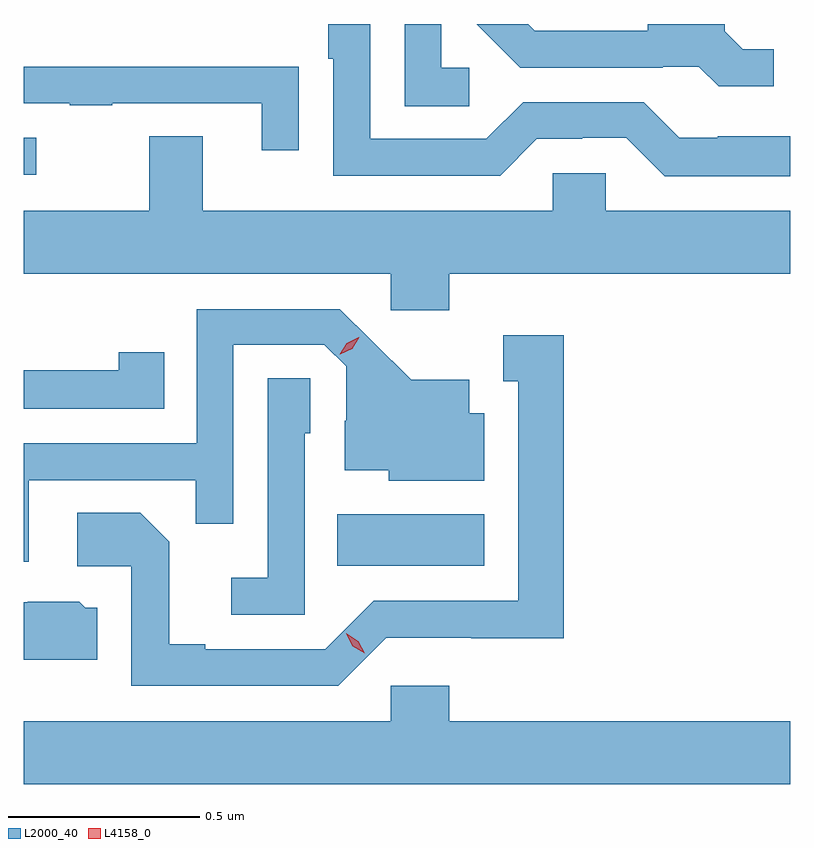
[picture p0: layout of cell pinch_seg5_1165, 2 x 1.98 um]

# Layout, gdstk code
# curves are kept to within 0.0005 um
import gdstk
lib = gdstk.Library(unit=1e-6, precision=1e-09)
def R(c, l, rs):  # rectangles x0, y0, x1, y1
    for r in rs: c.add(gdstk.rectangle(r[:2], r[2:], *l))
def P(c, l, *ps):  # polygons
    for p in ps: c.add(gdstk.Polygon(p, *l))
L2000_40 = (2000, 40)
L4158_0 = (4158, 0)

pinch_seg5_1165 = lib.new_cell('pinch_seg5_1165')
R(pinch_seg5_1165, L2000_40, [(783.388,836.018,783.772,836.152), (782.57,837.039,782.602,837.135)])
P(pinch_seg5_1165, L2000_40, [(784.528,837.366),(784.446,837.366),(784.399,837.413),(784.399,837.432),(784.199,837.432),(784.199,837.414),(783.904,837.414),(783.886,837.432),(783.752,837.432),(783.866,837.318),(784.238,837.318),(784.238,837.321),(784.332,837.321),(784.384,837.269),(784.528,837.269)],
  [(784.57,837.139),(784.381,837.139),(784.381,837.135),(784.281,837.135),(784.188,837.228),(783.873,837.228),(783.777,837.132),(783.474,837.132),(783.474,837.432),(783.365,837.432),(783.365,837.341),(783.378,837.341),(783.378,837.036),(783.813,837.036),(783.909,837.132),(784.028,837.132),(784.028,837.135),(784.143,837.135),(784.243,837.035),(784.57,837.035)],
  [(783.733,837.318),(783.66,837.318),(783.66,837.432),(783.564,837.432),(783.564,837.217),(783.733,837.217)],
  [(783.287,837.32),(783.185,837.32),(783.185,837.321),(782.57,837.321),(782.57,837.225),(782.689,837.225),(782.689,837.22),(782.801,837.22),(782.801,837.225),(783.191,837.225),(783.191,837.102),(783.287,837.102)],
  [(783.037,837.139),(782.897,837.139),(782.897,836.944),(782.57,836.944),(782.57,836.78),(783.528,836.78),(783.528,836.685),(783.68,836.685),(783.68,836.78),(784.57,836.78),(784.57,836.944),(784.089,836.944),(784.089,837.042),(783.951,837.042),(783.951,836.944),(783.037,836.944)],
  [(782.583,836.241),(783.019,836.241),(783.019,836.128),(783.117,836.128),(783.117,836.595),(783.354,836.595),(783.411,836.538),(783.411,836.396),(783.407,836.396),(783.407,836.267),(783.522,836.267),(783.522,836.24),(783.772,836.24),(783.772,836.416),(783.733,836.416),(783.733,836.503),(783.581,836.503),(783.394,836.688),(783.021,836.688),(783.021,836.337),(782.57,836.337),(782.57,836.028),(782.583,836.028)],
  [(783.516,835.83),(783.738,835.83),(783.738,835.829),(783.979,835.829),(783.979,836.62),(783.821,836.62),(783.821,836.499),(783.86,836.499),(783.86,835.926),(783.483,835.926),(783.357,835.8),(783.043,835.8),(783.043,835.813),(782.949,835.813),(782.949,836.08),(782.873,836.156),(782.709,836.156),(782.709,836.016),(782.85,836.016),(782.85,835.704),(783.39,835.704)],
  [(782.936,836.575),(782.818,836.575),(782.818,836.528),(782.57,836.528),(782.57,836.427),(782.936,836.427)],
  [(783.303,836.364),(783.318,836.364),(783.318,836.507),(783.207,836.507),(783.207,835.987),(783.111,835.987),(783.111,835.89),(783.303,835.89)],
  [(782.761,835.908),(782.73,835.908),(782.714,835.924),(782.58,835.924),(782.58,835.923),(782.57,835.923),(782.57,835.772),(782.761,835.772)],
  [(784.57,835.612),(783.68,835.612),(783.68,835.705),(783.528,835.705),(783.528,835.612),(782.57,835.612),(782.57,835.448),(784.57,835.448)])
P(pinch_seg5_1165, L4158_0, [(783.46,835.789),(783.428,835.808),(783.411,835.84),(783.411,835.841),(783.412,835.841),(783.443,835.821),(783.46,835.789),(783.46,835.789)],
  [(783.395,836.57),(783.395,836.57),(783.413,836.599),(783.444,836.614),(783.445,836.614),(783.445,836.614),(783.427,836.584),(783.396,836.57)])

lib.write_gds('pinch_seg5_1165.gds')
